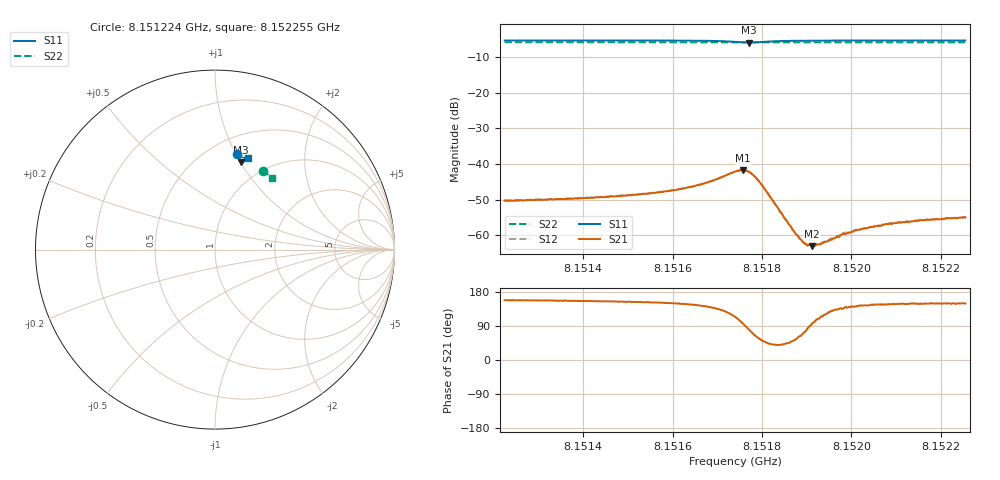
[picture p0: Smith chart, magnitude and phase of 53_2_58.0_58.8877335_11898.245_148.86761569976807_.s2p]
#  HZ  S  RI  R  50.00
! Rohde & Schwarz Vector Network Analyzer
! Rohde-Schwarz,ZNB20-2Port,1311601062101988,3.16
! Created: UTC 3/21/2024, 12:52:40 AM
! freq[Hz]  re:S11  im:S11  re:S21  im:S21  re:S12  im:S12  re:S22  im:S22
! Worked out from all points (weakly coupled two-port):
!   401 points, 8.151224 GHz to 8.152255 GHz, reference 50 ohm
!   highest |S21| = -41.74 dB at 8.151758 GHz (marker M1); lowest = -63.1 dB at 8.151912 GHz (marker M2)
!   lowest |S11| = -5.9 dB at 8.15177 GHz (marker M3), VSWR 3.06, Z = 38.4 + j50.3 ohm
!   |S11| at or under -10 dB: nowhere
!   |S22| runs from -5.8 to -5.8 dB; largest |S21 - S12| = 0.00015
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8.1512242e9  0.1209 0.5298  -0.00284 0.00115  -0.00282 0.00119  0.2658 0.44
8.1513969e9  0.1341 0.5268  -0.003 0.00137  -0.00304 0.00141  0.2751 0.4339
8.1514793e9  0.1408 0.5248  -0.00318 0.00157  -0.00319 0.00162  0.2795 0.431
8.1515695e9  0.1489 0.522  -0.0035 0.00192  -0.00354 0.00201  0.2844 0.4276
8.1516107e9  0.1532 0.52  -0.00373 0.00224  -0.00374 0.00232  0.2865 0.426
8.1516648e9  0.1597 0.5153  -0.00416 0.0031  -0.00415 0.00321  0.2895 0.4239
8.1516983e9  0.1641 0.5096  -0.00438 0.00426  -0.00435 0.00436  0.2914 0.4223
8.1517396e9  0.1639 0.4938  -0.00318 0.00714  -0.0031 0.00723  0.2932 0.4204
8.1517576e9  0.1551 0.4864  -0.000828 0.00814  -0.000747 0.0082  0.2935 0.4195
8.1517705e9  0.1452 0.4862  0.00127 0.00764  0.00134 0.00766  0.2938 0.4193
8.1517834e9  0.1375 0.492  0.00275 0.00611  0.00282 0.00614  0.2942 0.4191
8.1517988e9  0.1343 0.5013  0.00315 0.00406  0.00323 0.00406  0.2951 0.419
8.1518555e9  0.1448 0.5167  0.00114 0.00111  0.00119 0.00108  0.2986 0.4172
8.1518761e9  0.1486 0.518  0.000593 0.000831  0.000622 0.000835  0.2998 0.4165
8.1518967e9  0.152 0.5185  0.000191 0.000722  0.00017 0.00073  0.3008 0.4157
8.1519122e9  0.1541 0.5187  -8.52e-05 0.000697  -1.66e-05 0.0007  0.3017 0.4149
8.1519328e9  0.1568 0.5187  -0.000333 0.000693  -0.000319 0.000676  0.3029 0.4142
8.1519792e9  0.1618 0.5182  -0.000722 0.000726  -0.00072 0.000721  0.3054 0.4125
8.1520101e9  0.1648 0.5176  -0.000913 0.000723  -0.000924 0.00075  0.3069 0.4112
8.1520848e9  0.1712 0.5164  -0.00123 0.000799  -0.00119 0.000812  0.3107 0.4082
8.152157e9  0.1769 0.5148  -0.00137 0.00086  -0.00139 0.000863  0.3143 0.4054
8.1522549e9  0.1841 0.5126  -0.00153 0.000921  -0.00154 0.00095  0.3193 0.4012
